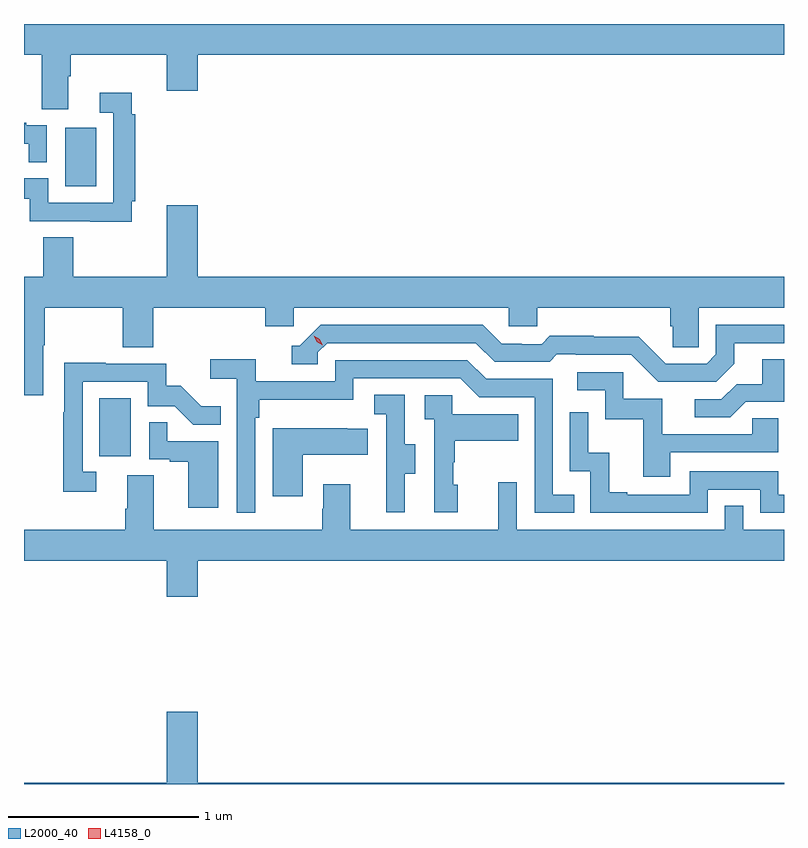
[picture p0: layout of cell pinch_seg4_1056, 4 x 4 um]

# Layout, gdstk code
import gdstk
lib = gdstk.Library(unit=1e-6, precision=1e-09)
def R(c, l, rs):  # rectangles x0, y0, x1, y1
    for r in rs: c.add(gdstk.rectangle(r[:2], r[2:], *l))
def P(c, l, *ps):  # polygons
    for p in ps: c.add(gdstk.Polygon(p, *l))
L2000_40 = (2000, 40)
L4158_0 = (4158, 0)

pinch_seg4_1056 = lib.new_cell('pinch_seg4_1056')
R(pinch_seg4_1056, L2000_40, [(883.934,761.406,884.098,761.713), (883.754,762.828,883.918,763.135)])
P(pinch_seg4_1056, L2000_40, [(883.537,763.52),(883.631,763.52),(883.631,763.234),(883.771,763.234),(883.771,763.408),(883.784,763.408),(883.784,763.52),(884.288,763.52),(884.288,763.332),(884.452,763.332),(884.452,763.52),(887.537,763.52),(887.537,763.682),(883.537,763.682)],
  [(884.105,762.748),(884.123,762.748),(884.123,763.208),(884.105,763.208),(884.105,763.321),(883.935,763.321),(883.935,763.215),(884.007,763.215),(884.007,762.741),(883.665,762.741),(883.665,762.87),(883.537,762.87),(883.537,762.762),(883.567,762.762),(883.567,762.645),(883.885,762.645),(883.885,762.64),(884.105,762.64)],
  [(883.656,763.149),(883.55,763.149),(883.55,763.162),(883.537,763.162),(883.537,763.053),(883.561,763.053),(883.561,762.955),(883.656,762.955)],
  [(883.639,761.992),(883.647,761.992),(883.647,762.188),(884.056,762.188),(884.056,761.98),(884.216,761.98),(884.216,762.188),(884.807,762.188),(884.807,762.09),(884.958,762.09),(884.958,762.188),(886.089,762.188),(886.089,762.09),(886.239,762.09),(886.239,762.188),(886.937,762.188),(886.937,762.09),(886.951,762.09),(886.951,761.98),(887.088,761.98),(887.088,762.188),(887.537,762.188),(887.537,762.352),(884.452,762.352),(884.452,762.727),(884.288,762.727),(884.288,762.352),(883.797,762.352),(883.797,762.56),(883.637,762.56),(883.637,762.352),(883.537,762.352),(883.537,761.727),(883.639,761.727)],
  [(887.275,761.893),(887.275,762.003),(887.537,762.003),(887.537,762.099),(887.178,762.099),(887.178,761.943),(887.13,761.895),(886.914,761.895),(886.772,762.037),(886.536,762.037),(886.536,762.04),(886.303,762.04),(886.261,761.997),(886.158,761.997),(886.158,762),(886.051,762),(885.952,762.099),(885.099,762.099),(884.988,761.988),(884.945,761.988),(884.945,761.892),(885.084,761.892),(885.084,761.955),(885.132,762.003),(885.915,762.003),(886.014,761.904),(886.303,761.904),(886.342,761.943),(886.441,761.943),(886.441,761.94),(886.734,761.94),(886.875,761.799),(887.181,761.799)],
  [(887.335,761.694),(887.537,761.694),(887.537,761.918),(887.423,761.918),(887.423,761.786),(887.288,761.786),(887.208,761.706),(887.067,761.706),(887.067,761.613),(887.254,761.613)],
  [(884.754,761.609),(884.774,761.609),(884.774,761.705),(885.27,761.705),(885.27,761.817),(885.834,761.817),(885.933,761.718),(886.224,761.718),(886.224,761.109),(886.433,761.109),(886.433,761.205),(886.32,761.205),(886.32,761.814),(885.97,761.814),(885.871,761.913),(885.174,761.913),(885.174,761.802),(884.756,761.802),(884.756,761.918),(884.517,761.918),(884.517,761.816),(884.658,761.816),(884.658,761.109),(884.754,761.109)],
  [(883.918,761.325),(883.845,761.325),(883.845,761.799),(884.187,761.799),(884.187,761.67),(884.331,761.67),(884.429,761.572),(884.573,761.572),(884.573,761.671),(884.469,761.671),(884.362,761.778),(884.286,761.778),(884.286,761.895),(883.967,761.895),(883.967,761.9),(883.749,761.9),(883.749,761.639),(883.744,761.639),(883.744,761.22),(883.918,761.22)],
  [(886.939,761.427),(887.508,761.427),(887.508,761.607),(887.371,761.607),(887.371,761.523),(886.897,761.523),(886.897,761.709),(886.692,761.709),(886.692,761.85),(886.449,761.85),(886.449,761.754),(886.596,761.754),(886.596,761.601),(886.795,761.601),(886.795,761.298),(886.939,761.298)],
  [(885.541,761.314),(885.595,761.314),(885.595,761.469),(885.54,761.469),(885.54,761.732),(885.381,761.732),(885.381,761.629),(885.444,761.629),(885.444,761.325),(885.443,761.325),(885.443,761.112),(885.541,761.112)],
  [(885.82,761.256),(885.795,761.256),(885.795,761.375),(885.805,761.375),(885.805,761.489),(886.139,761.489),(886.139,761.629),(885.792,761.629),(885.792,761.727),(885.645,761.727),(885.645,761.603),(885.696,761.603),(885.696,761.112),(885.82,761.112)],
  [(887.136,761.232),(887.412,761.232),(887.412,761.109),(887.537,761.109),(887.537,761.205),(887.508,761.205),(887.508,761.328),(887.04,761.328),(887.04,761.205),(886.711,761.205),(886.711,761.218),(886.616,761.218),(886.616,761.426),(886.506,761.426),(886.506,761.638),(886.41,761.638),(886.41,761.328),(886.518,761.328),(886.518,761.109),(887.136,761.109)],
  [(884.56,761.487),(884.291,761.487),(884.291,761.585),(884.196,761.585),(884.196,761.391),(884.303,761.391),(884.303,761.379),(884.402,761.379),(884.402,761.136),(884.56,761.136)],
  [(885.004,761.414),(885.347,761.414),(885.347,761.551),(885.239,761.551),(885.239,761.554),(884.846,761.554),(884.846,761.196),(885.004,761.196)],
  [(884.452,760.856),(887.537,760.856),(887.537,761.02),(887.322,761.02),(887.322,761.147),(887.226,761.147),(887.226,761.02),(886.131,761.02),(886.131,761.269),(886.034,761.269),(886.034,761.02),(885.253,761.02),(885.253,761.26),(885.113,761.26),(885.113,761.132),(885.106,761.132),(885.106,761.02),(884.221,761.02),(884.221,761.306),(884.081,761.306),(884.081,761.132),(884.069,761.132),(884.069,761.02),(883.537,761.02),(883.537,760.856),(884.288,760.856),(884.288,760.668),(884.452,760.668)],
  [(887.537,759.688),(884.452,759.688),(884.452,760.063),(884.288,760.063),(884.288,759.688),(883.537,759.688),(883.537,759.682),(887.537,759.682)])
P(pinch_seg4_1056, L4158_0, [(885.109,761.99),(885.078,762.009),(885.062,762.042),(885.062,762.042),(885.062,762.042),(885.093,762.023),(885.109,761.99),(885.109,761.99)])

lib.write_gds('pinch_seg4_1056.gds')
